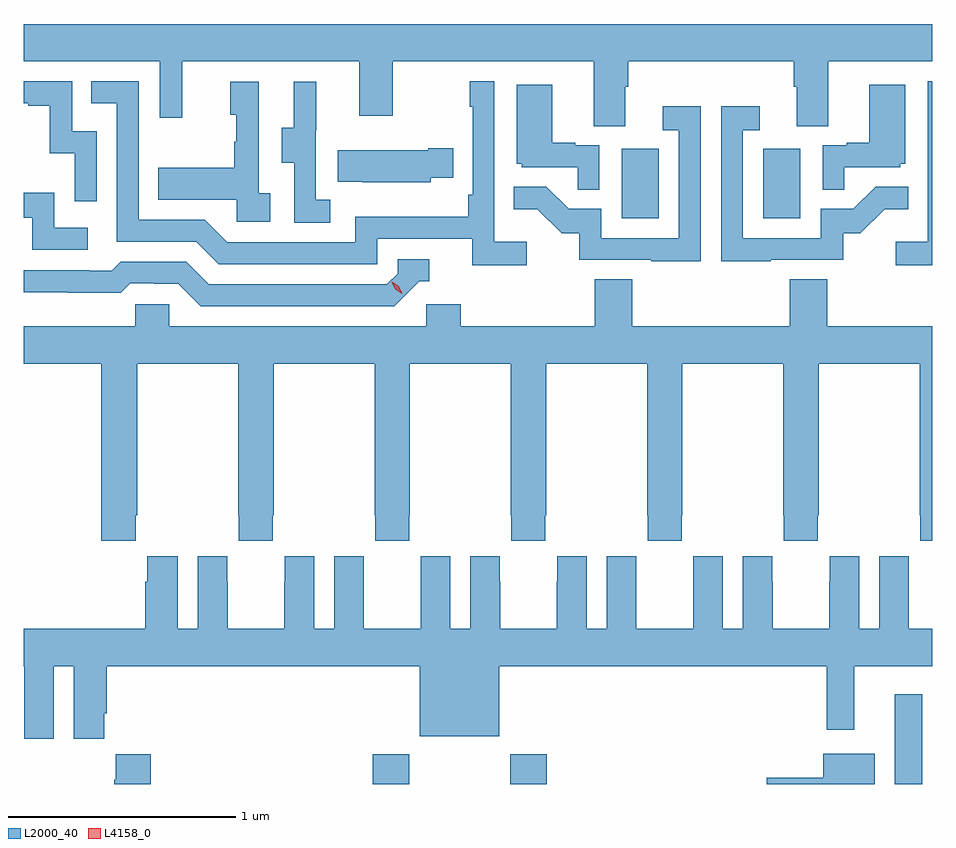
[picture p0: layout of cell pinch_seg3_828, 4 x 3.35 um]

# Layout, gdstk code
import gdstk
lib = gdstk.Library(unit=1e-6, precision=1e-09)
def R(c, l, rs):  # rectangles x0, y0, x1, y1
    for r in rs: c.add(gdstk.rectangle(r[:2], r[2:], *l))
def P(c, l, *ps):  # polygons
    for p in ps: c.add(gdstk.Polygon(p, *l))
L2000_40 = (2000, 40)
L4158_0 = (4158, 0)

pinch_seg3_828 = lib.new_cell('pinch_seg3_828')
R(pinch_seg3_828, L2000_40, [(850.247,707.057,850.407,707.188), (850.852,707.057,851.012,707.188), (852.545,707.057,852.667,707.452), (851.342,709.548,851.506,709.855), (851.966,709.548,852.13,709.855)])
P(pinch_seg3_828, L2000_40, [(851.359,710.128),(851.372,710.128),(851.372,710.24),(852.101,710.24),(852.101,710.128),(852.113,710.128),(852.113,709.954),(852.253,709.954),(852.253,710.24),(852.71,710.24),(852.71,710.404),(848.71,710.404),(848.71,710.24),(849.309,710.24),(849.309,709.992),(849.407,709.992),(849.407,710.24),(850.187,710.24),(850.187,710.001),(850.335,710.001),(850.335,710.24),(851.219,710.24),(851.219,709.954),(851.359,709.954)],
  [(852.71,710.152),(852.69,710.152),(852.69,709.444),(852.549,709.444),(852.549,709.342),(852.71,709.342)],
  [(850.924,709.444),(850.782,709.444),(850.782,710.152),(850.674,710.152),(850.674,710.039),(850.686,710.039),(850.686,709.651),(850.666,709.651),(850.666,709.555),(850.17,709.555),(850.17,709.443),(849.606,709.443),(849.507,709.542),(849.216,709.542),(849.216,710.151),(849.007,710.151),(849.007,710.055),(849.12,710.055),(849.12,709.446),(849.47,709.446),(849.569,709.347),(850.266,709.347),(850.266,709.458),(850.685,709.458),(850.685,709.342),(850.924,709.342)],
  [(849.03,709.932),(848.922,709.932),(848.922,710.151),(848.71,710.151),(848.71,710.055),(848.729,710.055),(848.729,710.043),(848.825,710.043),(848.825,709.835),(848.934,709.835),(848.934,709.623),(849.03,709.623)],
  [(849.796,709.658),(849.744,709.658),(849.744,710.149),(849.62,710.149),(849.62,710.004),(849.646,710.004),(849.646,709.886),(849.636,709.886),(849.636,709.771),(849.301,709.771),(849.301,709.631),(849.648,709.631),(849.648,709.533),(849.796,709.533)],
  [(850.06,709.631),(849.996,709.631),(849.996,709.935),(849.998,709.935),(849.998,710.149),(849.899,710.149),(849.899,709.947),(849.845,709.947),(849.845,709.792),(849.9,709.792),(849.9,709.528),(850.06,709.528)],
  [(852.323,709.773),(852.57,709.773),(852.57,709.788),(852.592,709.788),(852.592,710.137),(852.434,710.137),(852.434,709.882),(852.335,709.882),(852.335,709.869),(852.228,709.869),(852.228,709.675),(852.323,709.675)],
  [(851.244,709.869),(851.138,709.869),(851.138,709.882),(851.038,709.882),(851.038,710.137),(850.88,710.137),(850.88,709.788),(850.902,709.788),(850.902,709.773),(851.149,709.773),(851.149,709.675),(851.244,709.675)],
  [(851.999,709.365),(852.318,709.365),(852.318,709.482),(852.394,709.482),(852.501,709.589),(852.605,709.589),(852.605,709.688),(852.461,709.688),(852.363,709.59),(852.219,709.59),(852.219,709.461),(851.877,709.461),(851.877,709.935),(851.95,709.935),(851.95,710.041),(851.781,710.041),(851.781,709.36),(851.999,709.36)],
  [(851.691,710.041),(851.523,710.041),(851.523,709.935),(851.595,709.935),(851.595,709.461),(851.253,709.461),(851.253,709.59),(851.109,709.59),(851.011,709.688),(850.867,709.688),(850.867,709.589),(850.971,709.589),(851.078,709.482),(851.155,709.482),(851.155,709.365),(851.473,709.365),(851.473,709.36),(851.691,709.36)],
  [(850.503,709.727),(850.601,709.727),(850.601,709.857),(850.49,709.857),(850.49,709.849),(850.093,709.849),(850.093,709.709),(850.201,709.709),(850.201,709.706),(850.503,709.706)],
  [(848.992,709.506),(848.844,709.506),(848.844,709.66),(848.71,709.66),(848.71,709.551),(848.748,709.551),(848.748,709.41),(848.992,709.41)],
  [(850.452,709.272),(850.495,709.272),(850.495,709.368),(850.356,709.368),(850.356,709.305),(850.308,709.257),(849.525,709.257),(849.426,709.356),(849.137,709.356),(849.098,709.317),(848.999,709.317),(848.999,709.32),(848.71,709.32),(848.71,709.223),(848.904,709.223),(848.904,709.221),(849.137,709.221),(849.179,709.263),(849.282,709.263),(849.282,709.26),(849.389,709.26),(849.488,709.161),(850.341,709.161)],
  [(851.39,709.28),(851.225,709.28),(851.225,709.072),(850.634,709.072),(850.634,709.17),(850.482,709.17),(850.482,709.072),(849.351,709.072),(849.351,709.17),(849.201,709.17),(849.201,709.072),(848.71,709.072),(848.71,708.908),(849.05,708.908),(849.05,708.129),(849.203,708.129),(849.203,708.241),(849.21,708.241),(849.21,708.908),(849.655,708.908),(849.655,708.241),(849.657,708.241),(849.657,708.129),(849.807,708.129),(849.807,708.241),(849.81,708.241),(849.81,708.908),(850.255,708.908),(850.255,708.241),(850.257,708.241),(850.257,708.129),(850.407,708.129),(850.407,708.241),(850.41,708.241),(850.41,708.908),(850.855,708.908),(850.855,708.241),(850.857,708.241),(850.857,708.129),(851.007,708.129),(851.007,708.241),(851.01,708.241),(851.01,708.908),(851.455,708.908),(851.455,708.241),(851.457,708.241),(851.457,708.129),(851.607,708.129),(851.607,708.241),(851.61,708.241),(851.61,708.908),(852.055,708.908),(852.055,708.241),(852.057,708.241),(852.057,708.129),(852.207,708.129),(852.207,708.241),(852.21,708.241),(852.21,708.908),(852.655,708.908),(852.655,708.241),(852.657,708.241),(852.657,708.129),(852.71,708.129),(852.71,709.072),(852.248,709.072),(852.248,709.28),(852.083,709.28),(852.083,709.072),(851.39,709.072)],
  [(848.71,707.576),(848.711,707.576),(848.711,707.368),(848.712,707.368),(848.712,707.256),(848.842,707.256),(848.842,707.576),(848.93,707.576),(848.93,707.256),(849.064,707.256),(849.064,707.368),(849.074,707.368),(849.074,707.576),(850.454,707.576),(850.454,707.267),(850.804,707.267),(850.804,707.576),(852.246,707.576),(852.246,707.295),(852.367,707.295),(852.367,707.576),(852.71,707.576),(852.71,707.74),(852.607,707.74),(852.607,707.948),(852.606,707.948),(852.606,708.061),(852.476,708.061),(852.476,707.74),(852.388,707.74),(852.388,708.061),(852.258,708.061),(852.258,707.948),(852.257,707.948),(852.257,707.74),(852.007,707.74),(852.007,707.948),(852.006,707.948),(852.006,708.061),(851.876,708.061),(851.876,707.74),(851.788,707.74),(851.788,708.061),(851.658,708.061),(851.658,707.948),(851.657,707.948),(851.657,707.74),(851.407,707.74),(851.407,707.948),(851.406,707.948),(851.406,708.061),(851.276,708.061),(851.276,707.74),(851.188,707.74),(851.188,708.061),(851.058,708.061),(851.058,707.948),(851.057,707.948),(851.057,707.74),(850.807,707.74),(850.807,707.948),(850.806,707.948),(850.806,708.061),(850.676,708.061),(850.676,707.74),(850.588,707.74),(850.588,708.061),(850.458,708.061),(850.458,707.948),(850.457,707.948),(850.457,707.74),(850.207,707.74),(850.207,707.948),(850.206,707.948),(850.206,708.061),(850.076,708.061),(850.076,707.74),(849.988,707.74),(849.988,708.061),(849.858,708.061),(849.858,707.948),(849.857,707.948),(849.857,707.74),(849.607,707.74),(849.607,707.948),(849.606,707.948),(849.606,708.061),(849.476,708.061),(849.476,707.74),(849.388,707.74),(849.388,708.061),(849.254,708.061),(849.254,707.948),(849.245,707.948),(849.245,707.74),(848.71,707.74)],
  [(852.457,707.191),(852.23,707.191),(852.23,707.085),(851.982,707.085),(851.982,707.057),(852.457,707.057)],
  [(849.269,707.188),(849.115,707.188),(849.115,707.075),(849.109,707.075),(849.109,707.057),(849.269,707.057)])
P(pinch_seg3_828, L4158_0, [(850.376,709.217),(850.346,709.236),(850.33,709.269),(850.33,709.269),(850.331,709.269),(850.361,709.25),(850.377,709.217),(850.377,709.217)])

lib.write_gds('pinch_seg3_828.gds')
